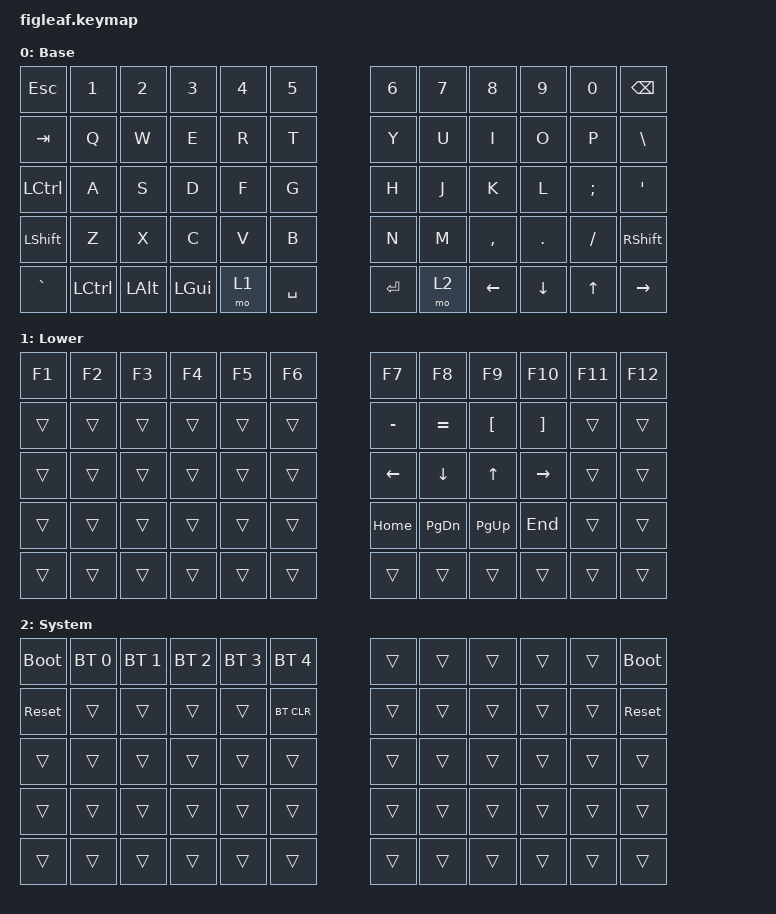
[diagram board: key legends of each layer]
#include <behaviors.dtsi>
#include <dt-bindings/zmk/keys.h>
#include <dt-bindings/zmk/bt.h>

/ {
    keymap {
        compatible = "zmk,keymap";

        default_layer {
            display-name = "Base";
            bindings = <
                &kp ESC   &kp N1    &kp N2   &kp N3   &kp N4 &kp N5       &kp N6  &kp N7 &kp N8    &kp N9   &kp N0   &kp BSPC
                &kp TAB   &kp Q     &kp W    &kp E    &kp R  &kp T        &kp Y   &kp U  &kp I     &kp O    &kp P    &kp BSLH
                &kp LCTRL &kp A     &kp S    &kp D    &kp F  &kp G        &kp H   &kp J  &kp K     &kp L    &kp SEMI &kp SQT
                &kp LSHFT &kp Z     &kp X    &kp C    &kp V  &kp B        &kp N   &kp M  &kp COMMA &kp DOT  &kp FSLH &kp RSHFT
                &kp GRAVE &kp LCTRL &kp LALT &kp LGUI &mo 1  &kp SPACE    &kp RET &mo 2  &kp LEFT  &kp DOWN &kp UP   &kp RIGHT
            >;
        };

        lower_layer {
            display-name = "Lower";
            bindings = <
                &kp F1    &kp F2    &kp F3    &kp F4    &kp F5    &kp F6       &kp F7    &kp F8    &kp F9    &kp F10   &kp F11  &kp F12
                &trans    &trans    &trans    &trans    &trans    &trans       &kp MINUS &kp EQUAL &kp LBKT  &kp RBKT  &trans   &trans
                &trans    &trans    &trans    &trans    &trans    &trans       &kp LEFT  &kp DOWN  &kp UP    &kp RIGHT &trans   &trans
                &trans    &trans    &trans    &trans    &trans    &trans       &kp HOME  &kp PG_DN &kp PG_UP &kp END   &trans   &trans
                &trans    &trans    &trans    &trans    &trans    &trans       &trans    &trans    &trans    &trans    &trans   &trans
            >;
        };

        system_layer {
            display-name = "System";
            bindings = <
                &bootloader  &bt BT_SEL 0 &bt BT_SEL 1 &bt BT_SEL 2 &bt BT_SEL 3 &bt BT_SEL 4    &trans &trans &trans &trans &trans &bootloader
                &sys_reset   &trans       &trans       &trans       &trans       &bt BT_CLR      &trans &trans &trans &trans &trans &sys_reset
                &trans       &trans       &trans       &trans       &trans       &trans          &trans &trans &trans &trans &trans &trans
                &trans       &trans       &trans       &trans       &trans       &trans          &trans &trans &trans &trans &trans &trans
                &trans       &trans       &trans       &trans       &trans       &trans          &trans &trans &trans &trans &trans &trans
            >;
        };
    };
};
